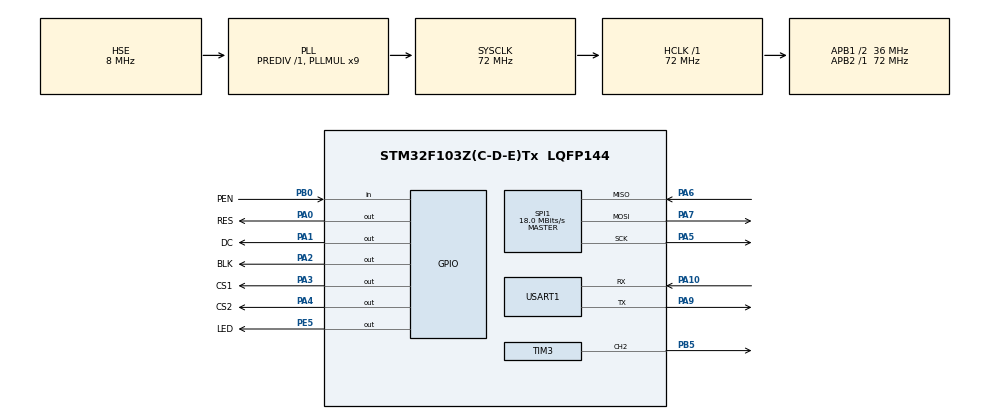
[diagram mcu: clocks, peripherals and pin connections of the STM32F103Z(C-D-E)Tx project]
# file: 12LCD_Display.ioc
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Mcu.Family=STM32F1
Mcu.Name=STM32F103Z(C-D-E)Tx
Mcu.Package=LQFP144
NVIC.PriorityGroup=NVIC_PRIORITYGROUP_4
NVIC.TIM6_IRQn=true\:0\:0\:false\:false\:true\:true\:true\:true
OSC_IN.Mode=HSE-External-Oscillator
OSC_IN.Signal=RCC_OSC_IN
OSC_OUT.Mode=HSE-External-Oscillator
OSC_OUT.Signal=RCC_OSC_OUT
PA0-WKUP.GPIO_Label=RES
PA0-WKUP.GPIO_PuPd=GPIO_PULLUP
PA0-WKUP.PinState=GPIO_PIN_SET
PA0-WKUP.Signal=GPIO_Output
PA1.GPIO_Label=DC
PA1.GPIO_PuPd=GPIO_PULLUP
PA1.PinState=GPIO_PIN_SET
PA1.Signal=GPIO_Output
PA10.Mode=Asynchronous
PA10.Signal=USART1_RX
PA13.Mode=Serial_Wire
PA13.Signal=SYS_JTMS-SWDIO
PA14.Mode=Serial_Wire
PA14.Signal=SYS_JTCK-SWCLK
PA2.GPIO_Label=BLK
PA2.GPIO_PuPd=GPIO_PULLUP
PA2.PinState=GPIO_PIN_SET
PA2.Signal=GPIO_Output
PA3.GPIO_Label=CS1
PA3.GPIO_PuPd=GPIO_PULLUP
PA3.PinState=GPIO_PIN_SET
PA3.Signal=GPIO_Output
PA4.GPIO_Label=CS2
PA4.GPIO_PuPd=GPIO_PULLUP
PA4.PinState=GPIO_PIN_SET
PA4.Signal=GPIO_Output
PA5.Mode=Full_Duplex_Master
PA5.Signal=SPI1_SCK
PA6.Mode=Full_Duplex_Master
PA6.Signal=SPI1_MISO
PA7.Mode=Full_Duplex_Master
PA7.Signal=SPI1_MOSI
PA9.Mode=Asynchronous
PA9.Signal=USART1_TX
PB0.GPIO_Label=PEN
PB0.GPIO_PuPd=GPIO_PULLUP
PB0.Signal=GPIO_Input
PB5.Signal=S_TIM3_CH2
PE5.GPIO_Label=LED
PE5.GPIO_PuPd=GPIO_PULLUP
PE5.PinState=GPIO_PIN_SET
PE5.Signal=GPIO_Output
ProjectManager.HeapSize=0x200
ProjectManager.StackSize=0x700
ProjectManager.TargetToolchain=MDK-ARM V5.32
RCC.AHBFreq_Value=72000000
RCC.APB1CLKDivider=RCC_HCLK_DIV2
RCC.APB1Freq_Value=36000000
RCC.APB1TimFreq_Value=72000000
RCC.APB2Freq_Value=72000000
RCC.APB2TimFreq_Value=72000000
RCC.HCLKFreq_Value=72000000
RCC.PLLMUL=RCC_PLL_MUL9
RCC.PLLSourceVirtual=RCC_PLLSOURCE_HSE
RCC.SYSCLKFreq_VALUE=72000000
RCC.SYSCLKSource=RCC_SYSCLKSOURCE_PLLCLK
RCC.USBFreq_Value=72000000
SH.S_TIM3_CH2.0=TIM3_CH2,PWM Generation2 CH2
SPI1.BaudRatePrescaler=SPI_BAUDRATEPRESCALER_4
SPI1.CalculateBaudRate=18.0 MBits/s
SPI1.Direction=SPI_DIRECTION_2LINES
SPI1.Mode=SPI_MODE_MASTER
SPI1.VirtualType=VM_MASTER
TIM1.Prescaler=72-1
TIM3.AutoReloadPreload=TIM_AUTORELOAD_PRELOAD_ENABLE
TIM3.Channel-PWM\ Generation2\ CH2=TIM_CHANNEL_2
TIM3.Period=100-1
TIM3.Prescaler=7200-1
TIM6.AutoReloadPreload=TIM_AUTORELOAD_PRELOAD_ENABLE
TIM6.Period=999
TIM6.Prescaler=71
USART1.VirtualMode=VM_ASYNC
VP_TIM1_VS_ClockSourceINT.Mode=Internal
VP_TIM3_VS_ClockSourceINT.Mode=Internal
VP_TIM6_VS_ClockSourceINT.Mode=Enable_Timer
board=custom

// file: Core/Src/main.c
/* USER CODE BEGIN Header */
/**
  ******************************************************************************
  * @file           : main.c
  * @brief          : Main program body
  ******************************************************************************
  * @attention
  *
  * Copyright (c) 2024 STMicroelectronics.
  * All rights reserved.
  *
  * This software is licensed under terms that can be found in the LICENSE file
  * in the root directory of this software component.
  * If no LICENSE file comes with this software, it is provided AS-IS.
  *
  ******************************************************************************
  */
/* USER CODE END Header */
#include "main.h"
#include "spi.h"
#include "tim.h"
#include "usart.h"
#include "gpio.h"

/* USER CODE BEGIN Includes */
#include "lcd_init.h"
#include "lcd.h"
#include "pic.h"
#include "touch.h"
#include "lvgl.h"
#include "lv_port_disp_template.h"
#include "lv_port_indev_template.h"
#include "lv_demo_stress.h"
#include "lv_demo_widgets.h"
#include "ui.h"
#include "dht11.h"
/* USER CODE END Includes */

void SystemClock_Config(void);

int main(void)
{

  /* USER CODE BEGIN 1 */
uint8_t buff[4]={0};
  /* USER CODE END 1 */

  /* MCU Configuration--------------------------------------------------------*/

  /* Reset of all peripherals, Initializes the Flash interface and the Systick. */
  HAL_Init();

  /* Configure the system clock */
  SystemClock_Config();

  /* Initialize all configured peripherals */
  MX_GPIO_Init();
  MX_SPI1_Init();
  MX_USART1_UART_Init();
  MX_TIM6_Init();
  MX_TIM3_Init();
  MX_TIM1_Init();
  /* USER CODE BEGIN 2 */
	HAL_TIM_Base_Start_IT(&htim6);
	HAL_TIM_PWM_Start(&htim3, TIM_CHANNEL_2);
	lv_init();
	lv_port_disp_init();
	lv_port_indev_init();
	//lv_demo_widgets();
	ui_init();
	//lv_demo_stress();

  /* USER CODE END 2 */

  /* Infinite loop */
  /* USER CODE BEGIN WHILE */
  while (1)
  {

		lv_timer_handler();
		HAL_Delay(5);
		DHT_Read();
//		Data[5]

		lv_arc_set_value(ui_Arc1, Data[2]);
		sprintf(buff,"%u",Data[2]);
    lv_label_set_text(ui_Label2, buff);

    lv_arc_set_value(ui_Arc2, Data[0]);
		sprintf(buff,"%u",Data[0]);
    lv_label_set_text(ui_Label4, buff);

		    //lv_label_set_text(ui_Label1, "Temperature & Humility Control System666");
    /* USER CODE END WHILE */

  }
}

void SystemClock_Config(void)
{
  RCC_OscInitTypeDef RCC_OscInitStruct = {0};
  RCC_ClkInitTypeDef RCC_ClkInitStruct = {0};

  /** Initializes the RCC Oscillators according to the specified parameters
  * in the RCC_OscInitTypeDef structure.
  */
  RCC_OscInitStruct.OscillatorType = RCC_OSCILLATORTYPE_HSE;
  RCC_OscInitStruct.HSEState = RCC_HSE_ON;
  RCC_OscInitStruct.HSEPredivValue = RCC_HSE_PREDIV_DIV1;
  RCC_OscInitStruct.HSIState = RCC_HSI_ON;
  RCC_OscInitStruct.PLL.PLLState = RCC_PLL_ON;
  RCC_OscInitStruct.PLL.PLLSource = RCC_PLLSOURCE_HSE;
  RCC_OscInitStruct.PLL.PLLMUL = RCC_PLL_MUL9;
  if (HAL_RCC_OscConfig(&RCC_OscInitStruct) != HAL_OK)
  {
    Error_Handler();
  }

  /** Initializes the CPU, AHB and APB buses clocks
  */
  RCC_ClkInitStruct.ClockType = RCC_CLOCKTYPE_HCLK|RCC_CLOCKTYPE_SYSCLK
                              |RCC_CLOCKTYPE_PCLK1|RCC_CLOCKTYPE_PCLK2;
  RCC_ClkInitStruct.SYSCLKSource = RCC_SYSCLKSOURCE_PLLCLK;
  RCC_ClkInitStruct.AHBCLKDivider = RCC_SYSCLK_DIV1;
  RCC_ClkInitStruct.APB1CLKDivider = RCC_HCLK_DIV2;
  RCC_ClkInitStruct.APB2CLKDivider = RCC_HCLK_DIV1;

  if (HAL_RCC_ClockConfig(&RCC_ClkInitStruct, FLASH_LATENCY_2) != HAL_OK)
  {
    Error_Handler();
  }
}

/* USER CODE BEGIN 4 */
void HAL_TIM_PeriodElapsedCallback(TIM_HandleTypeDef *htim)
{
	if (htim->Instance == TIM6)
	{
	 	lv_tick_inc(1);
	}

}
/* USER CODE END 4 */

void Error_Handler(void)
{
  __disable_irq();
  while (1)
  {
  }
}
